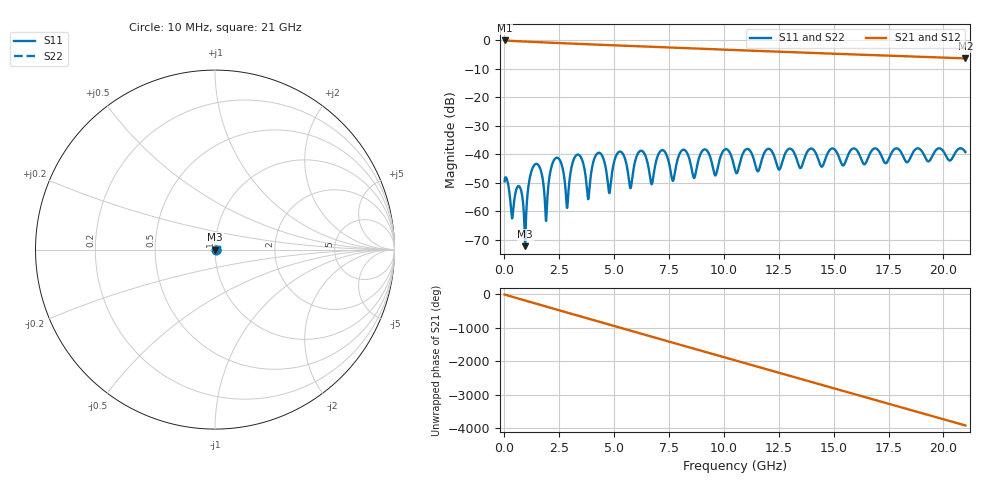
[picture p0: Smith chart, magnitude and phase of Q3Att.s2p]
! Touchstone generated by fitter/viewer
# HZ S  RI R 5.000000e+001
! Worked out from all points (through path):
!   2000 points, 10 MHz to 21 GHz, reference 50 ohm
!   highest |S21| = -0.03 dB at 10 MHz (marker M1); lowest = -6.3 dB at 21 GHz (marker M2)
!   group delay of S21, straight-line fit = 517 ps
!   lowest |S11| = -72.2 dB at 944.5 MHz (marker M3), VSWR 1.00, Z = 50 + j0.0221 ohm
!   |S11| at or under -10 dB: start of sweep to end of sweep
!   |S22| runs from -72.2 to -37.9 dB; largest |S21 - S12| = 0
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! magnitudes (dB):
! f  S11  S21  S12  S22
! 10 MHz  -49.5  0.0  0.0  -49.5
! 944.5 MHz  -72.2  -0.4  -0.4  -72.2
! 1.375 GHz  -43.7  -0.6  -0.6  -43.7
! 1.9 GHz  -63.4  -0.7  -0.7  -63.4
! 2.299 GHz  -41.6  -0.9  -0.9  -41.6
! 2.856 GHz  -58.8  -1.1  -1.1  -58.8
! 3.517 GHz  -41.5  -1.3  -1.3  -41.5
! 3.822 GHz  -55.8  -1.4  -1.4  -55.8
! 4.263 GHz  -39.5  -1.5  -1.5  -39.5
! 4.777 GHz  -53.6  -1.7  -1.7  -53.6
! 5.218 GHz  -39.1  -1.8  -1.8  -39.1
! 5.743 GHz  -51.9  -2.0  -2.0  -51.9
! 6.153 GHz  -39.0  -2.1  -2.1  -39.0
! 6.709 GHz  -50.5  -2.3  -2.3  -50.5
! 7.014 GHz  -40.0  -2.4  -2.4  -40.0
! 7.675 GHz  -49.3  -2.6  -2.6  -49.3
! 8.148 GHz  -38.4  -2.7  -2.7  -38.4
! 8.631 GHz  -48.3  -2.8  -2.8  -48.3
! 10.51 GHz  -45.6  -3.4  -3.4  -45.6
! 14.01 GHz  -38.0  -4.4  -4.4  -38.0
! 17.5 GHz  -41.7  -5.4  -5.4  -41.7
! 21 GHz  -39.2  -6.3  -6.3  -39.2
